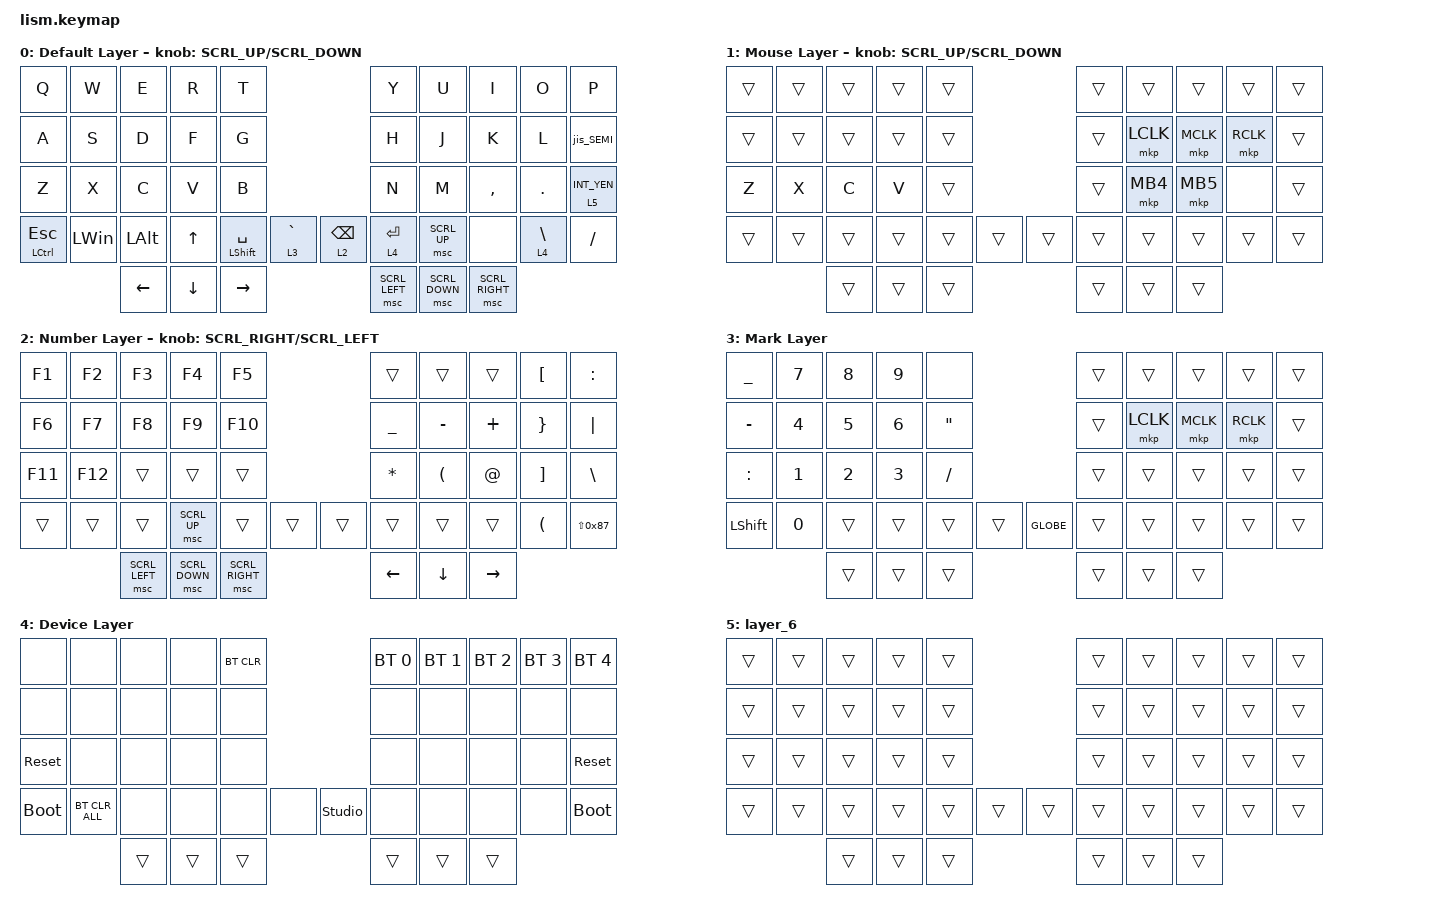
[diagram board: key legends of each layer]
#define ZMK_POINTING_DEFAULT_SCRL_VAL 200

#include <dt-bindings/zmk/mouse.h>
#include <behaviors.dtsi>
#include <dt-bindings/zmk/bt.h>
#include <dt-bindings/zmk/keys.h>
#include <dt-bindings/zmk/pointing.h>

// OS設定を日本語キーボードのまま使用するための変換定義

#define JP_DQUOTE       AT                // "
#define JP_AMPERSAND    CARET             // &
#define JP_QUOTE        AMPERSAND         // '
#define JP_EQUAL        UNDER             // =
#define JP_CARET        EQUAL             // ^
#define JP_YEN          0x89              // ¥
#define JP_PLUS         COLON             // +
#define JP_TILDE        PLUS              // ~
#define JP_PIPE         LS(0x89)          // |
#define JP_AT           LEFT_BRACKET      // @

// #define JP_COLON        SINGLE_QUOTE      // :

#define JP_ASTERISK     DOUBLE_QUOTES     // *
#define JP_BACKQUOTE    LEFT_BRACE        // `
#define JP_UNDERSCORE   LS(0x87)          // _
#define JP_LBRACKET     RIGHT_BRACKET     // [
#define JP_RBRACKET     BACKSLASH         // ]
#define JP_LPAREN       ASTERISK          // (
#define JP_RPAREN       LEFT_PARENTHESIS  // )
#define JP_LBRACE       RIGHT_BRACE       // {
#define JP_RBRACE       PIPE              // }
#define JP_KANA         LANGUAGE_1        // かな
#define JP_EISU         LANGUAGE_2        // 英数
#define JP_HANZEN       GRAVE             // 半角/全角
#define DEFAULT_LAYER   0
#define SECONDARY_LAYER 1
#define TERTIARY_LAYER  2
#define SYSTEM_LAYER    3
#define MOUSE_R_LAYER   4
#define SCROLL_R_LAYER  5
#define MOUSE_L_LAYER   6
#define SCROLL_L_LAYER  7
#define MOUSE 1
#define MARK 2
#define CURSOR 3
#define FUNCTION 4
#define SCROLL 5
#define WIRELESS 6

&mt {
    tapping-term-ms = <300>;
    flavor = "balanced";
};

&lt { quick-tap-ms = <300>; };

/ {
    macros {
        emoji: emoji_macro {
            compatible = "zmk,behavior-macro";
            label = "EMOJI";
            #binding-cells = <0>;
            bindings =
                <&macro_press>,
                <&kp CAPSLOCK>,
                <&macro_tap>,
                <&kp E>,
                <&macro_release>,
                <&kp CAPSLOCK>;
        };
    };

    behaviors {
        encoder_msc: sensor_rotate_msc {
            compatible = "zmk,behavior-sensor-rotate-var";
            #sensor-binding-cells = <2>;
            bindings = <&msc>, <&msc>;

            tap-ms = <20>;
        };

        encoder_kp: sensor_rotate_kp {
            compatible = "zmk,behavior-sensor-rotate-var";
            #sensor-binding-cells = <2>;
            bindings = <&kp>, <&kp>;
        };

        //コロンセミコロン

        jis_SEMI: jis_SEMI {
            compatible = "zmk,behavior-mod-morph";
            label = "jis_SEMI";
            #binding-cells = <0>;
            bindings = <&kp SEMI>, <&kp SQT>;

            mods = <(MOD_LSFT|MOD_RSFT)>;

            //keep-mods = <(MOD_LSFT|MOD_RSFT)>;
        };
    };

    combos {
        compatible = "zmk,combos";

        DeleteKey {
            bindings = <&kp DELETE>;
            key-positions = <41 40>;
        };

        tab {
            bindings = <&kp TAB>;
            key-positions = <11 12>;
        };

        backspace {
            bindings = <&kp BACKSPACE>;
            key-positions = <37 36>;
        };
    };

    keymap {
        compatible = "zmk,keymap";

        default_layer {
            display-name = "Default Layer";
            bindings = <
&kp Q                 &kp W         &kp E           &kp R           &kp T                                                 &kp Y           &kp U           &kp I            &kp O            &kp P
&kp A                 &kp S         &kp D           &kp F           &kp G                                                 &kp H           &kp J           &kp K            &kp L            &jis_SEMI
&kp Z                 &kp X         &kp C           &kp V           &kp B                                                 &kp N           &kp M           &kp COMMA        &kp DOT          &lt 5 INT_YEN
&mt LEFT_CONTROL ESC  &kp LEFT_WIN  &kp LEFT_ALT    &kp UP_ARROW    &mt LEFT_SHIFT SPACE  &lt 3 GRAVE    &lt 2 BACKSPACE  &lt 4 ENTER     &msc SCRL_UP    &none            &lt 4 BACKSLASH  &kp SLASH
                                    &kp LEFT_ARROW  &kp DOWN_ARROW  &kp RIGHT_ARROW                                       &msc SCRL_LEFT  &msc SCRL_DOWN  &msc SCRL_RIGHT
            >;

            sensor-bindings = <&encoder_msc SCRL_UP SCRL_DOWN>;
        };

        layer_1 {
            display-name = "Mouse Layer";
            bindings = <
&trans  &trans  &trans  &trans  &trans                    &trans  &trans     &trans     &trans     &trans
&trans  &trans  &trans  &trans  &trans                    &trans  &mkp LCLK  &mkp MCLK  &mkp RCLK  &trans
&kp Z   &kp X   &kp C   &kp V   &trans                    &trans  &mkp MB4   &mkp MB5   &none      &trans
&trans  &trans  &trans  &trans  &trans  &trans    &trans  &trans  &trans     &trans     &trans     &trans
                &trans  &trans  &trans                    &trans  &trans     &trans
            >;

            sensor-bindings = <&encoder_msc SCRL_UP SCRL_DOWN>;
        };

        layer_2 {
            display-name = "Number Layer";
            bindings = <
&kp F1   &kp F2   &kp F3          &kp F4          &kp F5                             &trans         &trans         &trans         &kp JP_AT             &kp JP_PLUS
&kp F6   &kp F7   &kp F8          &kp F9          &kp F10                            &kp JP_EQUAL   &kp MINUS      &kp JP_TILDE   &kp JP_LBRACE         &kp JP_RBRACE
&kp F11  &kp F12  &trans          &trans          &trans                             &kp JP_LPAREN  &kp JP_RPAREN  &kp JP_DQUOTE  &kp JP_LBRACKET       &kp JP_RBRACKET
&trans   &trans   &trans          &msc SCRL_UP    &trans           &trans    &trans  &trans         &trans         &trans         &kp LEFT_PARENTHESIS  &kp JP_UNDERSCORE
                  &msc SCRL_LEFT  &msc SCRL_DOWN  &msc SCRL_RIGHT                    &kp LEFT       &kp DOWN       &kp RIGHT
            >;

            sensor-bindings = <&encoder_msc SCRL_RIGHT SCRL_LEFT>;
        };

        layer_3 {
            display-name = "Mark Layer";
            bindings = <
&kp JP_EQUAL    &kp N7        &kp N8        &kp N9        &none                                 &trans  &trans     &trans     &trans     &trans
&kp MINUS       &kp NUMBER_4  &kp N5        &kp NUMBER_6  &kp JP_ASTERISK                       &trans  &mkp LCLK  &mkp MCLK  &mkp RCLK  &trans
&kp JP_PLUS     &kp NUMBER_1  &kp NUMBER_2  &kp NUMBER_3  &kp SLASH                             &trans  &trans     &trans     &trans     &trans
&kp LEFT_SHIFT  &kp N0        &trans        &trans        &trans           &trans    &kp GLOBE  &trans  &trans     &trans     &trans     &trans
                              &trans        &trans        &trans                                &trans  &trans     &trans
            >;
        };

        layer_4 {
            display-name = "Device Layer";
            bindings = <
&none        &none           &none   &none   &bt BT_CLR                           &bt BT_SEL 0  &bt BT_SEL 1  &bt BT_SEL 2  &bt BT_SEL 3  &bt BT_SEL 4
&none        &none           &none   &none   &none                                &none         &none         &none         &none         &none
&sys_reset   &none           &none   &none   &none                                &none         &none         &none         &none         &sys_reset
&bootloader  &bt BT_CLR_ALL  &none   &none   &none       &none    &studio_unlock  &none         &none         &none         &none         &bootloader
                             &trans  &trans  &trans                               &trans        &trans        &trans
            >;
        };

        layer_5 {
            status = "reserved";
            display-name = "Brank Layer";
            bindings = <
&trans  &trans  &trans  &trans  &trans                    &trans  &trans  &trans  &trans  &trans
&trans  &trans  &trans  &trans  &trans                    &trans  &trans  &trans  &trans  &trans
&trans  &trans  &trans  &trans  &trans                    &trans  &trans  &trans  &trans  &trans
&trans  &trans  &trans  &trans  &trans  &trans    &trans  &trans  &trans  &trans  &trans  &trans
                &trans  &trans  &trans                    &trans  &trans  &trans
            >;
        };

        layer_6 {
            bindings = <
&trans  &trans  &trans  &trans  &trans                    &trans  &trans  &trans  &trans  &trans
&trans  &trans  &trans  &trans  &trans                    &trans  &trans  &trans  &trans  &trans
&trans  &trans  &trans  &trans  &trans                    &trans  &trans  &trans  &trans  &trans
&trans  &trans  &trans  &trans  &trans  &trans    &trans  &trans  &trans  &trans  &trans  &trans
                &trans  &trans  &trans                    &trans  &trans  &trans
            >;
        };
    };
};
